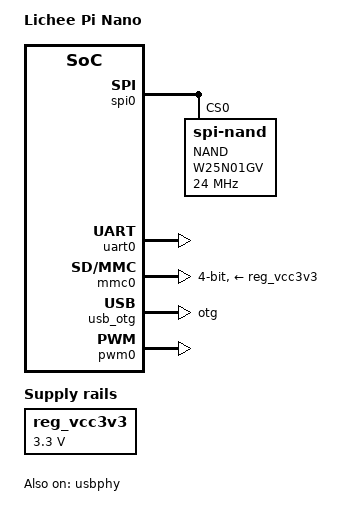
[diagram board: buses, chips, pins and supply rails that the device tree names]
// SPDX-License-Identifier: (GPL-2.0+ OR X11)
/*
 * Copyright 2018 Icenowy Zheng <icenowy@aosc.io>
 */

/dts-v1/;
#include "suniv-f1c100s.dtsi"

#include <dt-bindings/gpio/gpio.h>
#include <dt-bindings/pwm/pwm.h>
/ {
	model = "Lichee Pi Nano";
	compatible = "licheepi,licheepi-nano", "allwinner,suniv-f1c100s",
		     "allwinner,suniv";

	aliases {
		serial0 = &uart0;
		spi0 = &spi0;
//		spi1 = &spi1;
	};

	chosen {
		stdout-path = "serial0:115200n8";
		bootargs = "console=ttyS0,115200 panic=5 earlyprintk mtdids:spi-nand0=nand0.0 mtdparts:mtdparts=nand0.0:512k(uboot)ro,128k(dtb)ro,4096K(kernel)ro,-@0x4A0000(rootfs) rootwait root=31:03 rw rootfstype=jffs2";
	};

	reg_vcc3v3: vcc3v3 {
		compatible = "regulator-fixed";
		regulator-name = "vcc3v3";
		regulator-min-microvolt = <3300000>;
		regulator-max-microvolt = <3300000>;
	};
};

&otg_sram {
	status = "okay";
};

&spi0 {
	pinctrl-names = "default";
	pinctrl-0 = <&spi0_pins_a>;
	status = "okay";

	NAND:W25N01GV@0 {
		#address-cells = <1>;
		#size-cells = <1>;
		compatible = "spi-nand","allwinner,sun4i-a10-nand";
		reg = <0>;
		spi-max-frequency = <24000000>;
        	};
};

//&spi1 {
//	pinctrl-names = "default1";
//	pinctrl-0 = <&spi1_pins_a>;
//	status = "okay";
//
//	display@0{
//		#address-cells = <2>;
//		#size-cells = <5>;
//		compatible = "sharp,sharp-memlcd";
//		SCS-Pin = <&pio 4 11 0>; /* PE11 for SCS, Default state : LOW */
//		spi-max-frequency = <1500000>; //1.5MHz for Sharp memory LCD
//		memlcd-pwm = <&pwm0 0 500000>;
//	};
//
//};

&uart0 {
	pinctrl-names = "default";
	pinctrl-0 = <&uart0_pe_pins>;
	status = "okay";
};

&mmc0 {
	vmmc-supply = <&reg_vcc3v3>;
	bus-width = <4>;
	broken-cd;
	status = "okay";
};

&usb_otg {
	dr_mode = "otg";
	status = "okay";
};

&usbphy {
	usb0_id_det-gpio = <&pio 4 2 GPIO_ACTIVE_HIGH>; /* PE2 */
	status = "okay";
};

&pwm0 {
	pinctrl-names = "default";
	pinctrl-0 = <&pwm0_pins>;
	status = "okay";
};
